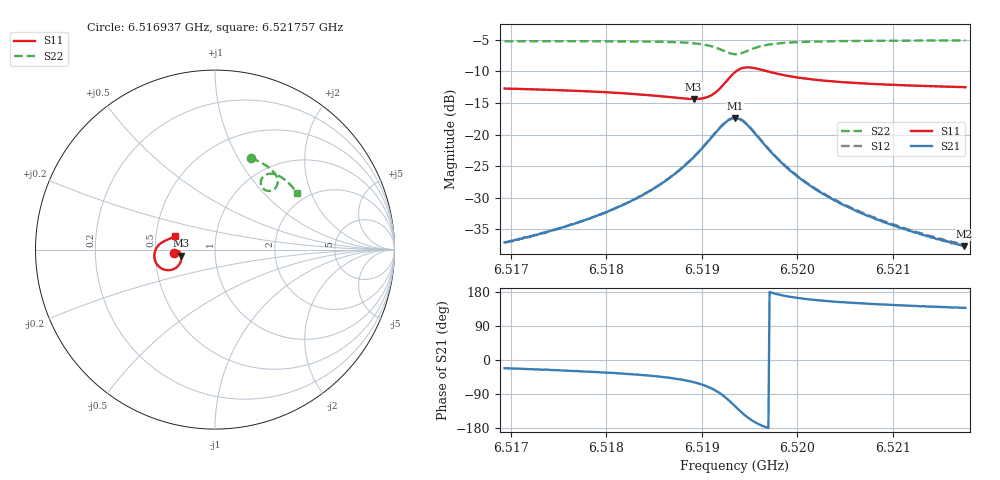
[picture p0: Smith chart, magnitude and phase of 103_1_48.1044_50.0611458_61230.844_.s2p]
#  HZ  S  RI  R  50.00
! Rohde & Schwarz Vector Network Analyzer
! Rohde-Schwarz,ZNB20-2Port,1311601062101988,3.16
! Created: UTC 12/23/2023, 3:44:59 AM
! freq[Hz]  re:S11  im:S11  re:S21  im:S21  re:S12  im:S12  re:S22  im:S22
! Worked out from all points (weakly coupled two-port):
!   401 points, 6.516937 GHz to 6.521757 GHz, reference 50 ohm
!   highest |S21| = -17.39 dB at 6.519347 GHz (marker M1); lowest = -37.7 dB at 6.521745 GHz (marker M2)
!   lowest |S11| = -14.4 dB at 6.518913 GHz (marker M3), VSWR 1.47, Z = 34.1 - j2.39 ohm
!   |S11| at or under -10 dB: start of sweep to 6.519357 GHz; 6.519691 GHz to end of sweep
!   |S22| runs from -7.3 to -5.1 dB; largest |S21 - S12| = 0.0041
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6.5169373e9  -0.2309 -0.0185  0.013 -0.00523  0.0131 -0.00472  0.1991 0.5108
6.5172747e9  -0.2273 -0.0132  0.0146 -0.00671  0.0148 -0.00634  0.224 0.5007
6.5177446e9  -0.221 -0.00764  0.0178 -0.0104  0.0182 -0.00974  0.2589 0.4838
6.5181664e9  -0.2127 -0.00519  0.0223 -0.0162  0.023 -0.0154  0.2906 0.4644
6.518552e9  -0.2017 -0.00964  0.0287 -0.0274  0.0298 -0.0266  0.3202 0.4398
6.5187327e9  -0.1949 -0.0172  0.0325 -0.0379  0.0338 -0.0371  0.3342 0.423
6.5189134e9  -0.1883 -0.0338  0.0347 -0.0563  0.0366 -0.0555  0.3464 0.3994
6.5190219e9  -0.1876 -0.052  0.0322 -0.0741  0.0347 -0.0737  0.3495 0.379
6.5191183e9  -0.1948 -0.0758  0.022 -0.0957  0.025 -0.0957  0.3448 0.3564
6.5192508e9  -0.2365 -0.111  -0.0208 -0.1236  -0.0173 -0.1253  0.3128 0.3284
6.5193472e9  -0.2931 -0.1075  -0.0713 -0.1147  -0.0686 -0.1177  0.274 0.3354
6.5193954e9  -0.3175 -0.0892  -0.0913 -0.0963  -0.089 -0.0996  0.2601 0.3511
6.5194557e9  -0.3349 -0.0585  -0.1031 -0.0676  -0.1021 -0.0711  0.255 0.3747
6.5195641e9  -0.3342 -0.00911  -0.0974 -0.0255  -0.0973 -0.0286  0.2691 0.4067
6.5196605e9  -0.3202 0.0174  -0.0823 -0.00505  -0.0829 -0.00758  0.2892 0.4195
6.5199136e9  -0.2869 0.0452  -0.0515 0.0117  -0.0524 0.0104  0.3321 0.4204
6.5201546e9  -0.2681 0.054  -0.036 0.0138  -0.0368 0.0128  0.3593 0.4093
6.5204678e9  -0.2532 0.0601  -0.0249 0.013  -0.0257 0.0125  0.3856 0.3918
6.5209619e9  -0.2391 0.0675  -0.0162 0.011  -0.0168 0.0108  0.4178 0.3629
6.5212631e9  -0.2328 0.0718  -0.0132 0.0101  -0.0135 0.00991  0.4346 0.3447
6.5217451e9  -0.2244 0.0783  -0.00964 0.00888  -0.0102 0.00883  0.4584 0.3148
6.5217571e9  -0.2241 0.0785  -0.0097 0.00881  -0.0101 0.00878  0.4591 0.3141
